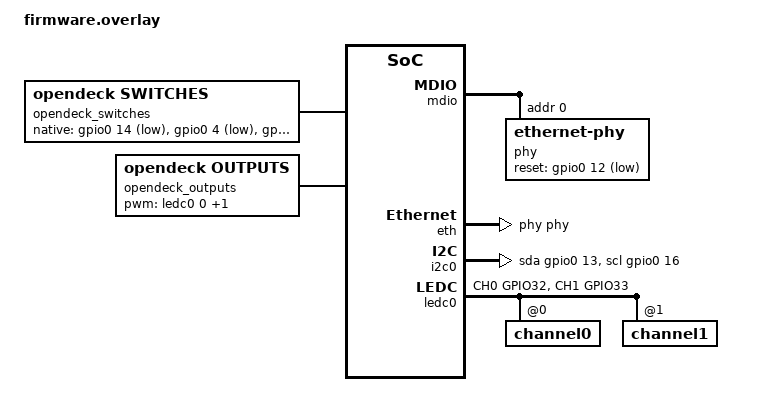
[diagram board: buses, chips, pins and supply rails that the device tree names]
/ {
    opendeck_metadata: opendeck-metadata {
        compatible = "opendeck,metadata";
        zephyr-board = "esp32_ethernet_kit/esp32/procpu";
        board-name = "Olimex ESP32-POE";
    };

    opendeck_transports: opendeck-transports {
        compatible = "opendeck,transports";
        network;
    };

    opendeck_bulk_build: opendeck-bulk-build {
        compatible = "opendeck,bulk-build";
        app;
    };

    opendeck_switches: opendeck-switches {
        compatible = "opendeck,switches";
        mode = "native";
        native-gpios =
            <&gpio0 14 (GPIO_PULL_UP | GPIO_ACTIVE_LOW)>, /* GPIO14 / free */
            <&gpio0 4 (GPIO_PULL_UP | GPIO_ACTIVE_LOW)>, /* GPIO4 / free */
            <&gpio0 15 (GPIO_PULL_UP | GPIO_ACTIVE_LOW)>; /* GPIO15 / free */
    };

    opendeck_outputs: opendeck-outputs {
        compatible = "opendeck,outputs";
        mode = "pwm";
        pwms =
            <&ledc0 0 PWM_MSEC(1) PWM_POLARITY_NORMAL>, /* GPIO32 / free */
            <&ledc0 1 PWM_MSEC(1) PWM_POLARITY_NORMAL>; /* GPIO33 / free */
    };

    opendeck_i2c: opendeck-i2c {
        compatible = "opendeck,i2c";
        bus = <&opendeck_i2c_bus>;
    };
};

/delete-node/ &phy;

&mdio {
    ref-clk-output-gpios = <&gpio0 17 GPIO_ACTIVE_HIGH>;

    phy: ethernet-phy@0 {
        compatible = "ethernet-phy";
        reg = <0>;
        reset-gpios = <&gpio0 12 GPIO_ACTIVE_LOW>;
        reset-assert-duration-us = <300000>;
        reset-deassertion-timeout-ms = <50>;
    };
};

&eth {
    phy-handle = <&phy>;
    ref-clk-output-gpios = <&gpio0 17 GPIO_ACTIVE_HIGH>;
};

opendeck_i2c_bus: &i2c0 {};

&i2c0 {
    sda-gpios = <&gpio0 13 GPIO_OPEN_DRAIN>;
    scl-gpios = <&gpio0 16 GPIO_OPEN_DRAIN>;
    status = "okay";
};

&opendeck_i2c0_default {
    group1 {
        pinmux = <I2C0_SDA_GPIO13>,
                 <I2C0_SCL_GPIO16>;
    };
};

&pinctrl {
    opendeck_ledc0_default: opendeck_ledc0_default {
        group1 {
            pinmux = <LEDC_CH0_GPIO32>,
                     <LEDC_CH1_GPIO33>;
            output-enable;
        };
    };
};

&ledc0 {
    pinctrl-0 = <&opendeck_ledc0_default>;
    pinctrl-names = "default";
    status = "okay";
    #address-cells = <1>;
    #size-cells = <0>;

    channel0@0 {
        reg = <0>;
        timer = <0>;
    };

    channel1@1 {
        reg = <1>;
        timer = <0>;
    };
};
